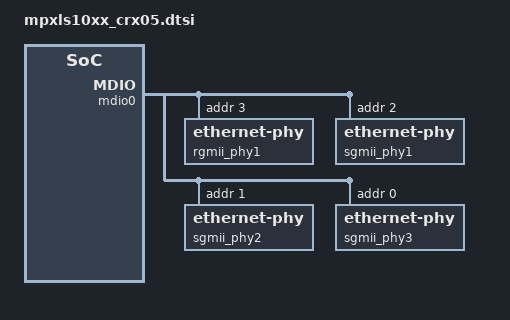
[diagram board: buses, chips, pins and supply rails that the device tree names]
// SPDX-License-Identifier: (GPL-2.0+ OR MIT)
/*
 * Device Tree file for MPXLS10xx modules on CRX05.
 *
 * Copyright 2018 MicroSys Electronics GmbH
 *
 * Kay Potthoff <Kay.Potthoff@microsys.de>
 *
 */

&mdio0 {
		status = "okay";
		rgmii_phy1: ethernet-phy@3 {
			reg = <0x3>;
			phy-connection-type = "rgmii";
			status = "okay";
		};
		sgmii_phy1: ethernet-phy@2 {
			reg = <0x2>;
			phy-connection-type = "sgmii";
			status = "okay";
		};
		sgmii_phy2: ethernet-phy@1 {
			reg = <0x1>;
			phy-connection-type = "sgmii";
			status = "okay";
		};
		sgmii_phy3: ethernet-phy@0 {
			reg = <0x0>;
			phy-connection-type = "sgmii";
			status = "okay";
		};
};
